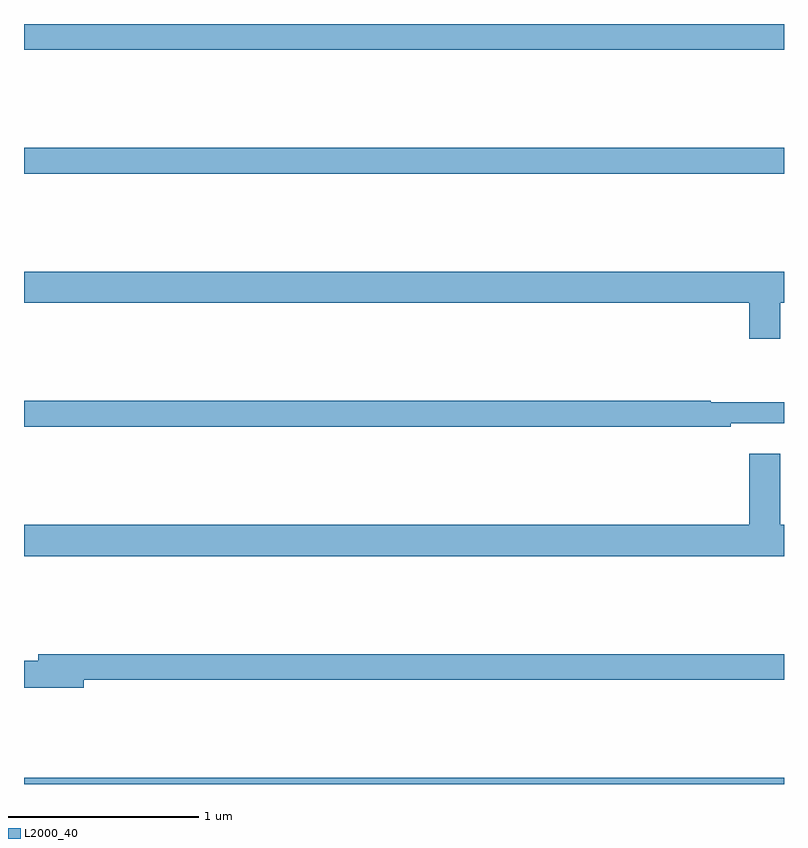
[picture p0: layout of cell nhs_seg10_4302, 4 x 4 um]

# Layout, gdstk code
import gdstk
lib = gdstk.Library(unit=1e-6, precision=1e-09)
def R(c, l, rs):  # rectangles x0, y0, x1, y1
    for r in rs: c.add(gdstk.rectangle(r[:2], r[2:], *l))
def P(c, l, *ps):  # polygons
    for p in ps: c.add(gdstk.Polygon(p, *l))
L2000_40 = (2000, 40)

nhs_seg10_4302 = lib.new_cell('nhs_seg10_4302')
R(nhs_seg10_4302, L2000_40, [(353,1248.5,357,1248.532), (353,1251.712,357,1251.848), (353,1252.364,357,1252.5)])
P(nhs_seg10_4302, L2000_40, [(356.98,1251.032),(357,1251.032),(357,1251.196),(353,1251.196),(353,1251.032),(356.816,1251.032),(356.816,1250.844),(356.98,1250.844)],
  [(356.72,1250.399),(357,1250.399),(357,1250.509),(356.615,1250.509),(356.615,1250.516),(353,1250.516),(353,1250.38),(356.72,1250.38)],
  [(357,1249.864),(356.98,1249.864),(356.98,1250.239),(356.816,1250.239),(356.816,1249.864),(353,1249.864),(353,1249.7),(357,1249.7)],
  [(353.314,1249.048),(357,1249.048),(357,1249.184),(353.075,1249.184),(353.075,1249.148),(353,1249.148),(353,1249.006),(353.314,1249.006)])

lib.write_gds('nhs_seg10_4302.gds')
